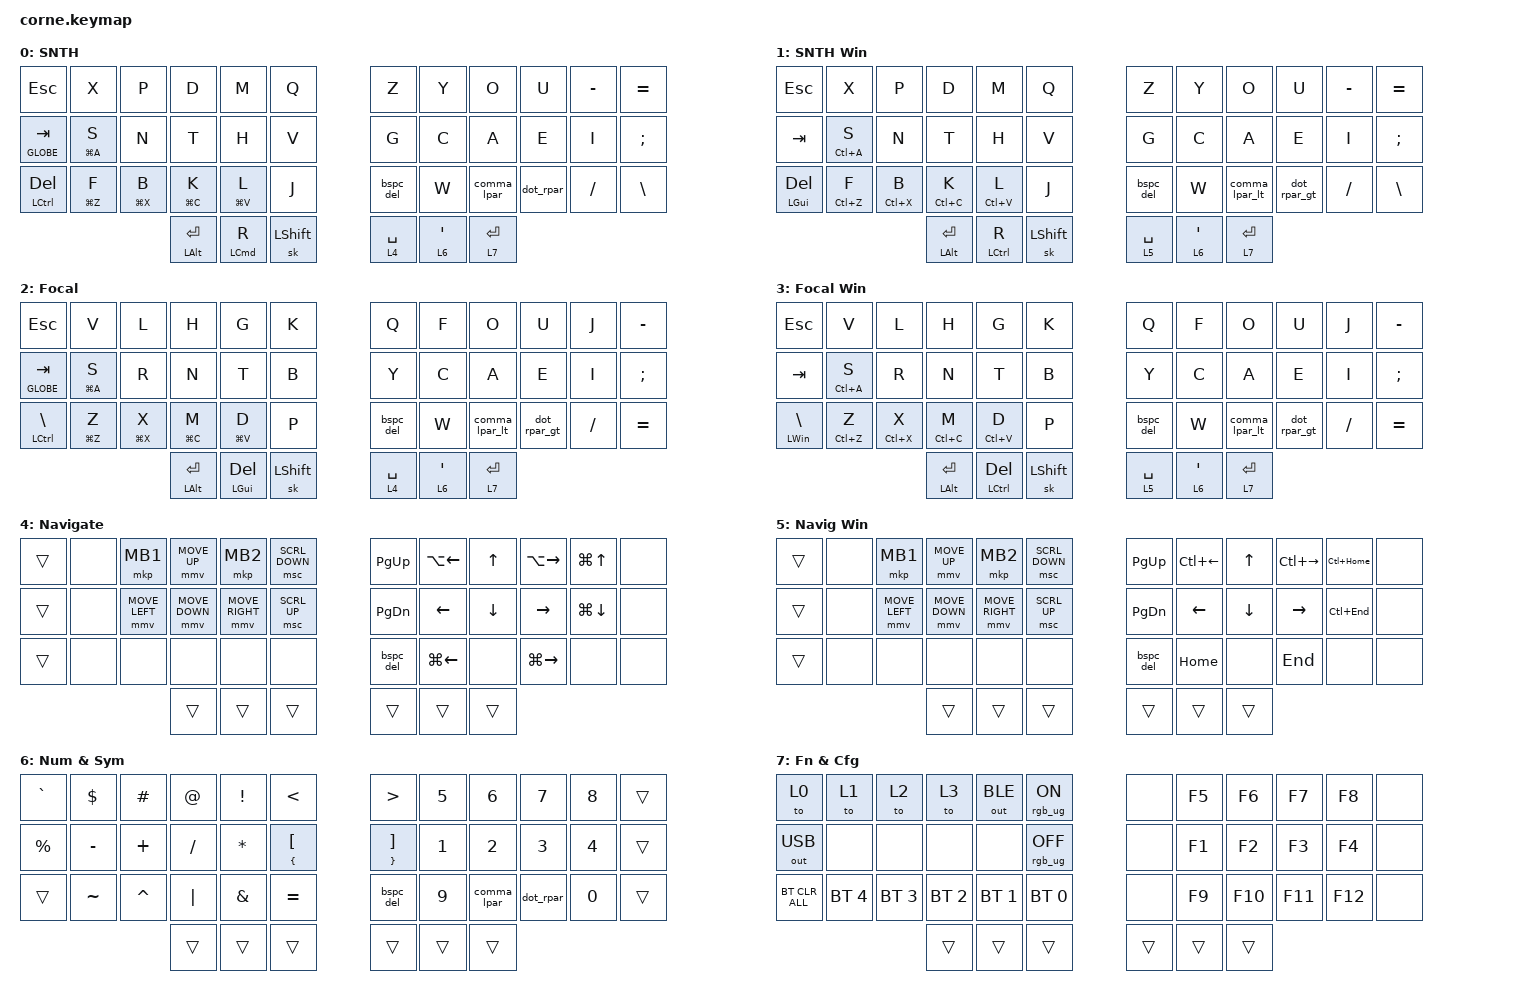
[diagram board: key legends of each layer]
/*
 * Copyright (c) 2020 The ZMK Contributors
 *
 * SPDX-License-Identifier: MIT
 */

#define ZMK_POINTING_DEFAULT_MOVE_VAL 1200  // default: 600
#define ZMK_POINTING_DEFAULT_SCRL_VAL 20    // default: 10

#include <behaviors.dtsi>
#include <dt-bindings/zmk/bt.h>
#include <dt-bindings/zmk/keys.h>
#include <dt-bindings/zmk/outputs.h>
#include <dt-bindings/zmk/pointing.h>
#include <dt-bindings/zmk/rgb.h>

&mmv {
    x-input-code = <INPUT_REL_X>;
    y-input-code = <INPUT_REL_Y>;
    time-to-max-speed-ms = <500>;  // default: 300
    acceleration-exponent = <2>;
    delay-ms = <0>;
    trigger-period-ms = <16>;
};

/ {
    chosen {
        zmk,matrix_transform = &default_transform;

        // zmk,matrix_transform = &five_column_transform;
    };
};

&sk {
    quick-release;
    release-after-ms = <600>;
};

/ {
    behaviors {
        once_mt: once_hold_tap {
            compatible = "zmk,behavior-hold-tap";
            #binding-cells = <2>;
            bindings = <&my_kp_macro>, <&kp>;

            tapping-term-ms = <300>;
            flavor = "tap-preferred";
        };

        thumb_hold_tap: thumb_hold_tap {
            compatible = "zmk,behavior-hold-tap";
            #binding-cells = <2>;
            bindings = <&kp>, <&kp>;

            tapping-term-ms = <333>;
            flavor = "tap-preferred";
        };

        comma_lpar_lt: comma_lpar_lt {
            compatible = "zmk,behavior-mod-morph";
            bindings = <&once_mt LESS_THAN COMMA>, <&once_mt LESS_THAN LPAR>;

            #binding-cells = <0>;
            mods = <(MOD_LSFT|MOD_RSFT)>;
            keep-mods = <(MOD_LSFT|MOD_RSFT)>;
        };

        dot_rpar_gt: dot_rpar_gt {
            compatible = "zmk,behavior-mod-morph";
            bindings =
                <&once_mt GREATER_THAN DOT>,
                <&once_mt GREATER_THAN RPAR>;

            #binding-cells = <0>;
            mods = <(MOD_LSFT|MOD_RSFT)>;
            keep-mods = <(MOD_LSFT|MOD_RSFT)>;
        };

        bspc_del: bspc_del {
            compatible = "zmk,behavior-mod-morph";
            bindings = <&kp BACKSPACE>, <&kp DELETE>;

            #binding-cells = <0>;
            mods = <(MOD_LSFT|MOD_RSFT)>;
        };

        my_gresc: my_gresc {
            compatible = "zmk,behavior-mod-morph";
            bindings = <&kp ESCAPE>, <&kp GRAVE>;

            #binding-cells = <0>;
            mods = <(MOD_LGUI|MOD_RGUI)>;
        };

        comma_lpar: comma_lpar {
            compatible = "zmk,behavior-mod-morph";
            bindings = <&kp COMMA>, <&kp LPAR>;

            #binding-cells = <0>;
            mods = <(MOD_LSFT|MOD_RSFT)>;
        };

        dot_rpar: dot_rpar {
            compatible = "zmk,behavior-mod-morph";
            bindings = <&kp PERIOD>, <&kp RPAR>;

            #binding-cells = <0>;
            mods = <(MOD_LSFT|MOD_RSFT)>;
        };

        gui_sk: gui_sk {
            compatible = "zmk,behavior-hold-tap";
            bindings = <&kp>, <&sk>;

            #binding-cells = <2>;
            flavor = "balanced";
            tapping-term-ms = <200>;
        };

        lt_lpar: lt_lpar {
            compatible = "zmk,behavior-mod-morph";
            bindings = <&kp LT>, <&kp LPAR>;

            #binding-cells = <0>;
            mods = <(MOD_LSFT|MOD_RSFT)>;
        };

        gt_rpar: gt_rpar {
            compatible = "zmk,behavior-mod-morph";
            bindings = <&kp GT>, <&kp RPAR>;

            #binding-cells = <0>;
            mods = <(MOD_LSFT|MOD_RSFT)>;
        };
    };

    combos {
        compatible = "zmk,combos";

        bootloader {
            bindings = <&bootloader>;
            key-positions = <24 25 26>;
        };

        reset_system {
            bindings = <&sys_reset>;
            key-positions = <25 26 27>;
        };

        spotlight {
            bindings = <&kp LG(SPACE)>;
            key-positions = <3 4>;
            layers = <4>;
        };

        screenshot {
            bindings = <&kp LS(LG(NUMBER_4))>;
            key-positions = <2 3>;
            layers = <4>;
        };

        play_pause {
            bindings = <&kp C_PLAY_PAUSE>;
            key-positions = <6 7>;
            layers = <4 5>;
        };

        mute {
            bindings = <&kp K_MUTE>;
            key-positions = <7 8>;
            layers = <4 5>;
        };

        volume_decrease {
            bindings = <&kp C_VOLUME_DOWN>;
            key-positions = <8 9>;
            layers = <4 5>;
        };

        volume_increase {
            bindings = <&kp C_VOLUME_UP>;
            key-positions = <9 10>;
            layers = <4 5>;
        };

        mission_ctrl {
            bindings = <&mission_ctrl_macro>;
            key-positions = <2 1>;
            layers = <4>;
        };

        Snip_tool {
            bindings = <&kp LS(LG(S))>;
            key-positions = <2 3>;
            layers = <5>;
        };

        start_menu {
            bindings = <&kp LGUI>;
            key-positions = <3 4>;
            layers = <5>;
        };
    };

    macros {
        my_kp_macro: my_kp_macro {
            compatible = "zmk,behavior-macro-one-param";
            #binding-cells = <1>;
            bindings = <&macro_param_1to1 &kp MACRO_PLACEHOLDER>;
        };

        mission_ctrl_macro: mission_ctrl_macro {
            compatible = "zmk,behavior-macro";
            #binding-cells = <0>;
            bindings = <&kt GLOBE &kp H &kt GLOBE>;
        };
    };

    keymap {
        compatible = "zmk,keymap";

        snth_layer {
            bindings = <
&kp ESCAPE     &kp X             &kp P             &kp D               &kp M                   &kp Q        &kp Z        &kp Y      &kp O        &kp U      &kp MINUS  &kp EQUAL
&mt GLOBE TAB  &once_mt LG(A) S  &kp N             &kp T               &kp H                   &kp V        &kp G        &kp C      &kp A        &kp E      &kp I      &kp SEMI
&mt LCTRL DEL  &once_mt LG(Z) F  &once_mt LG(X) B  &once_mt LG(C) K    &once_mt LG(V) L        &kp J        &bspc_del    &kp W      &comma_lpar  &dot_rpar  &kp FSLH   &kp BACKSLASH
                                                   &mt LEFT_ALT ENTER  &thumb_hold_tap LCMD R  &sk LSHFT    &lt 4 SPACE  &lt 6 SQT  &lt 7 ENTER
            >;

            label = "SNTH";
        };

        snth_layer_win {
            bindings = <
&kp ESCAPE    &kp X             &kp P             &kp D             &kp M                    &kp Q        &kp Z        &kp Y      &kp O           &kp U         &kp MINUS  &kp EQUAL
&kp TAB       &once_mt LC(A) S  &kp N             &kp T             &kp H                    &kp V        &kp G        &kp C      &kp A           &kp E         &kp I      &kp SEMI
&mt LGUI DEL  &once_mt LC(Z) F  &once_mt LC(X) B  &once_mt LC(C) K  &once_mt LC(V) L         &kp J        &bspc_del    &kp W      &comma_lpar_lt  &dot_rpar_gt  &kp FSLH   &kp BSLH
                                                  &mt LALT ENTER    &thumb_hold_tap LCTRL R  &sk LSHFT    &lt 5 SPACE  &lt 6 SQT  &lt 7 ENTER
            >;

            label = "SNTH Win";
        };

        focal_layer {
            bindings = <
&kp ESCAPE           &kp V             &kp L             &kp H               &kp G             &kp K         &kp Q        &kp F               &kp O           &kp U         &kp J     &kp MINUS
&mt GLOBE TAB        &once_mt LG(A) S  &kp R             &kp N               &kp T             &kp B         &kp Y        &kp C               &kp A           &kp E         &kp I     &kp SEMICOLON
&mt LCTRL BACKSLASH  &once_mt LG(Z) Z  &once_mt LG(X) X  &once_mt LG(C) M    &once_mt LG(V) D  &kp P         &bspc_del    &kp W               &comma_lpar_lt  &dot_rpar_gt  &kp FSLH  &kp EQUAL
                                                         &mt LEFT_ALT ENTER  &mt LGUI DELETE   &sk LSHIFT    &lt 4 SPACE  &lt 6 SINGLE_QUOTE  &lt 7 ENTER
            >;

            label = "Focal";
        };

        focal_layer_win {
            bindings = <
&kp ESCAPE              &kp V             &kp L             &kp H               &kp G             &kp K         &kp Q        &kp F               &kp O           &kp U         &kp J     &kp MINUS
&kp TAB                 &once_mt LC(A) S  &kp R             &kp N               &kp T             &kp B         &kp Y        &kp C               &kp A           &kp E         &kp I     &kp SEMICOLON
&mt LEFT_WIN BACKSLASH  &once_mt LC(Z) Z  &once_mt LC(X) X  &once_mt LC(C) M    &once_mt LC(V) D  &kp P         &bspc_del    &kp W               &comma_lpar_lt  &dot_rpar_gt  &kp FSLH  &kp EQUAL
                                                            &mt LEFT_ALT ENTER  &mt LCTRL DELETE  &sk LSHIFT    &lt 5 SPACE  &lt 6 SINGLE_QUOTE  &lt 7 ENTER
            >;

            label = "Focal Win";
        };

        navigation_layer {
            bindings = <
&trans  &none  &mkp MB1        &mmv MOVE_UP    &mkp MB2         &msc SCRL_DOWN    &kp PAGE_UP    &kp LA(LEFT)  &kp UP_ARROW  &kp LA(RIGHT)  &kp LG(UP_ARROW)    &none
&trans  &none  &mmv MOVE_LEFT  &mmv MOVE_DOWN  &mmv MOVE_RIGHT  &msc SCRL_UP      &kp PAGE_DOWN  &kp LEFT      &kp DOWN      &kp RIGHT      &kp LG(DOWN_ARROW)  &none
&trans  &none  &none           &none           &none            &none             &bspc_del      &kp LG(LEFT)  &none         &kp LG(RIGHT)  &none               &none
                               &trans          &trans           &trans            &trans         &trans        &trans
            >;

            label = "Navigate";
        };

        navigation_layer_win {
            bindings = <
&trans  &none  &mkp MB1        &mmv MOVE_UP    &mkp MB2         &msc SCRL_DOWN    &kp PAGE_UP    &kp LC(LEFT)  &kp UP_ARROW  &kp LC(RIGHT)  &kp LC(HOME)  &none
&trans  &none  &mmv MOVE_LEFT  &mmv MOVE_DOWN  &mmv MOVE_RIGHT  &msc SCRL_UP      &kp PAGE_DOWN  &kp LEFT      &kp DOWN      &kp RIGHT      &kp LC(END)   &none
&trans  &none  &none           &none           &none            &none             &bspc_del      &kp HOME      &none         &kp END        &none         &none
                               &trans          &trans           &trans            &trans         &trans        &trans
            >;

            label = "Navig Win";
        };

        num_sym_layer {
            bindings = <
&kp GRAVE    &kp DOLLAR  &kp HASH   &kp AT     &kp EXCLAMATION  &kp LT                &kp GT              &kp N5  &kp N6       &kp N7     &kp N8  &trans
&kp PERCENT  &kp MINUS   &kp PLUS   &kp SLASH  &kp ASTERISK     &once_mt LBRC LBKT    &once_mt RBRC RBKT  &kp N1  &kp N2       &kp N3     &kp N4  &trans
&trans       &kp TILDE   &kp CARET  &kp PIPE   &kp AMPERSAND    &kp EQUAL             &bspc_del           &kp N9  &comma_lpar  &dot_rpar  &kp N0  &trans
                                    &trans     &trans           &trans                &trans              &trans  &trans
            >;

            label = "Num & Sym";
        };

        fn_settings_layer {
            bindings = <
&to 0           &to 1         &to 2         &to 3         &out OUT_BLE  &rgb_ug RGB_ON     &none   &kp F5  &kp F6   &kp F7   &kp F8   &none
&out OUT_USB    &none         &none         &none         &none         &rgb_ug RGB_OFF    &none   &kp F1  &kp F2   &kp F3   &kp F4   &none
&bt BT_CLR_ALL  &bt BT_SEL 4  &bt BT_SEL 3  &bt BT_SEL 2  &bt BT_SEL 1  &bt BT_SEL 0       &none   &kp F9  &kp F10  &kp F11  &kp F12  &none
                                            &trans        &trans        &trans             &trans  &trans  &trans
            >;

            label = "Fn & Cfg";
        };
    };

    conditional_layers { compatible = "zmk,conditional-layers"; };
};
